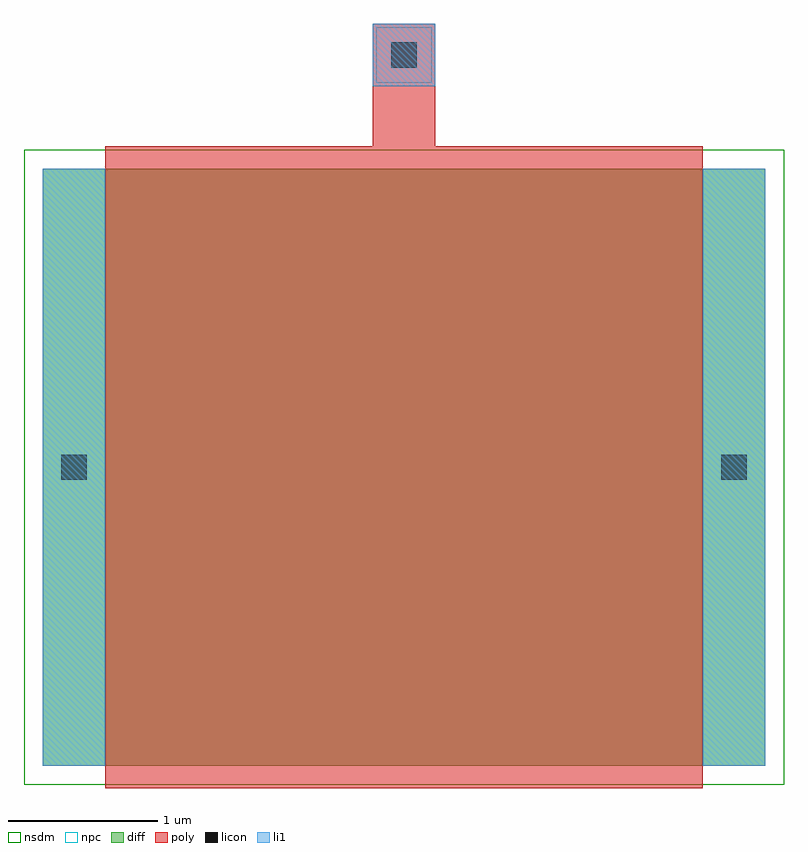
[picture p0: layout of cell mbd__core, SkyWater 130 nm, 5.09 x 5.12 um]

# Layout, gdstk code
import gdstk
lib = gdstk.Library(unit=1e-6, precision=1e-09)
def R(c, l, rs):  # rectangles x0, y0, x1, y1
    for r in rs: c.add(gdstk.rectangle(r[:2], r[2:], *l))
diff = (65, 20)
poly = (66, 20)
licon = (66, 44)
li1 = (67, 20)
nsdm = (93, 44)
npc = (95, 20)

mbd__core = lib.new_cell('mbd__core')
R(mbd__core, diff, [(0,0,4.84,4)])
R(mbd__core, poly, [(0.42,-0.15,4.42,4), (0.42,4,4.42,4.15), (0.42,4,4.42,4.15), (2.21,4.15,2.63,4.97)])
R(mbd__core, licon, [(0.125,1.915,0.295,2.085), (4.545,1.915,4.715,2.085), (2.335,4.675,2.505,4.845)])
R(mbd__core, li1, [(0,0,0.42,4), (4.42,0,4.84,4), (2.21,4.55,2.63,4.97)])
R(mbd__core, nsdm, [(-0.125,-0.125,4.965,4.125)])
R(mbd__core, npc, [(2.235,4.575,2.605,4.945)])

lib.write_gds('mbd__core.gds')
